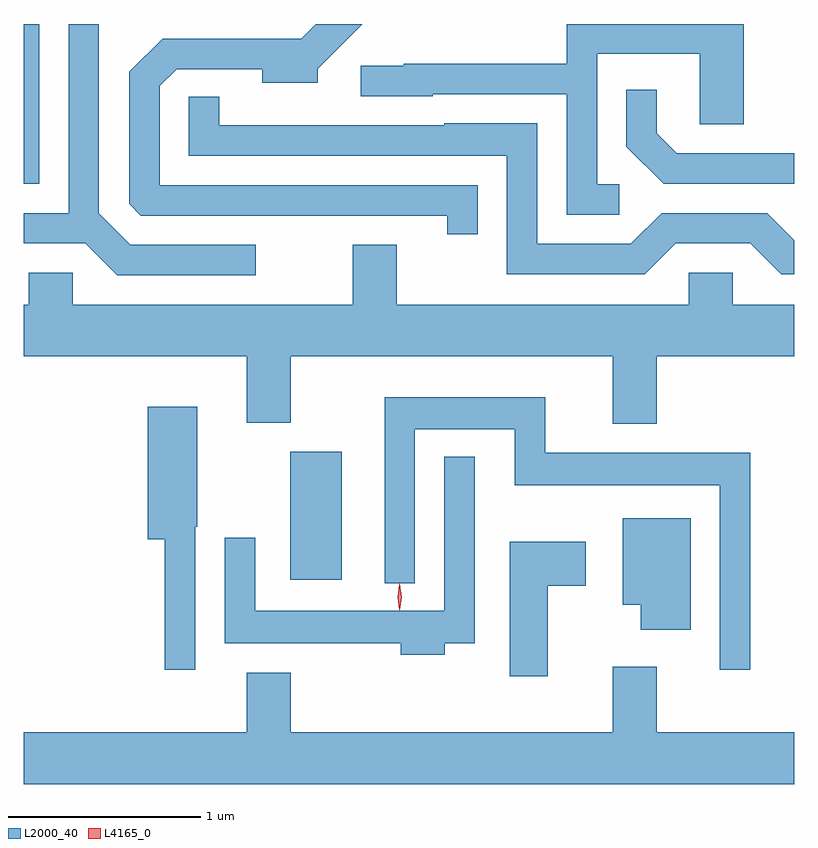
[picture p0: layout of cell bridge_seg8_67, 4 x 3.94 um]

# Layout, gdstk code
import gdstk
lib = gdstk.Library(unit=1e-6, precision=1e-09)
def R(c, l, rs):  # rectangles x0, y0, x1, y1
    for r in rs: c.add(gdstk.rectangle(r[:2], r[2:], *l))
def P(c, l, *ps):  # polygons
    for p in ps: c.add(gdstk.Polygon(p, *l))
L2000_40 = (2000, 40)
L4165_0 = (4165, 0)

bridge_seg8_67 = lib.new_cell('bridge_seg8_67')
R(bridge_seg8_67, L2000_40, [(1570.206,1810.836,1570.474,1811.499), (1568.823,1812.891,1568.904,1813.72)])
P(bridge_seg8_67, L2000_40, [(1571.913,1812.889),(1571.799,1812.889),(1571.799,1813.566),(1572.331,1813.566),(1572.331,1813.201),(1572.559,1813.201),(1572.559,1813.72),(1571.641,1813.72),(1571.641,1813.514),(1570.795,1813.514),(1570.795,1813.504),(1570.573,1813.504),(1570.573,1813.346),(1570.945,1813.346),(1570.945,1813.356),(1571.641,1813.356),(1571.641,1812.731),(1571.913,1812.731)],
  [(1571.179,1812.884),(1569.529,1812.884),(1569.529,1813.399),(1569.617,1813.486),(1570.061,1813.486),(1570.061,1813.416),(1570.349,1813.416),(1570.349,1813.489),(1570.581,1813.72),(1570.34,1813.72),(1570.264,1813.644),(1569.544,1813.644),(1569.371,1813.472),(1569.371,1812.787),(1569.432,1812.726),(1571.021,1812.726),(1571.021,1812.628),(1571.179,1812.628)],
  [(1570.028,1812.574),(1569.377,1812.574),(1569.214,1812.737),(1569.214,1813.72),(1569.056,1813.72),(1569.056,1812.739),(1568.823,1812.739),(1568.823,1812.581),(1569.144,1812.581),(1569.309,1812.416),(1570.028,1812.416)],
  [(1572.823,1813.049),(1572.212,1813.049),(1572.109,1813.152),(1572.109,1813.378),(1571.951,1813.378),(1571.951,1813.084),(1572.144,1812.891),(1572.823,1812.891)],
  [(1572.207,1812.581),(1572.594,1812.581),(1572.754,1812.421),(1572.823,1812.421),(1572.823,1812.598),(1572.682,1812.739),(1572.134,1812.739),(1571.974,1812.579),(1571.489,1812.579),(1571.489,1813.204),(1571.005,1813.204),(1571.005,1813.194),(1569.839,1813.194),(1569.839,1813.343),(1569.681,1813.343),(1569.681,1813.036),(1571.331,1813.036),(1571.331,1812.421),(1572.047,1812.421)],
  [(1572.109,1811.996),(1572.823,1811.996),(1572.823,1812.264),(1572.504,1812.264),(1572.504,1812.429),(1572.276,1812.429),(1572.276,1812.264),(1570.759,1812.264),(1570.759,1812.574),(1570.531,1812.574),(1570.531,1812.264),(1569.079,1812.264),(1569.079,1812.429),(1568.851,1812.429),(1568.851,1812.264),(1568.823,1812.264),(1568.823,1811.996),(1569.981,1811.996),(1569.981,1811.651),(1570.209,1811.651),(1570.209,1811.996),(1571.881,1811.996),(1571.881,1811.646),(1572.109,1811.646)],
  [(1572.594,1811.494),(1571.529,1811.494),(1571.529,1811.784),(1570.696,1811.784),(1570.696,1810.818),(1570.854,1810.818),(1570.854,1811.616),(1571.371,1811.616),(1571.371,1811.326),(1572.436,1811.326),(1572.436,1810.368),(1572.594,1810.368)],
  [(1569.714,1811.11),(1569.724,1811.11),(1569.724,1811.734),(1569.466,1811.734),(1569.466,1811.046),(1569.556,1811.046),(1569.556,1810.368),(1569.714,1810.368)],
  [(1571.009,1810.506),(1571.164,1810.506),(1571.164,1811.473),(1571.006,1811.473),(1571.006,1810.674),(1570.024,1810.674),(1570.024,1811.053),(1569.866,1811.053),(1569.866,1810.506),(1570.781,1810.506),(1570.781,1810.446),(1571.009,1810.446)],
  [(1572.284,1811.154),(1571.931,1811.154),(1571.931,1810.706),(1572.026,1810.706),(1572.026,1810.576),(1572.284,1810.576)],
  [(1571.544,1810.806),(1571.739,1810.806),(1571.739,1811.034),(1571.346,1811.034),(1571.346,1810.336),(1571.544,1810.336)],
  [(1569.981,1810.354),(1569.981,1810.044),(1568.823,1810.044),(1568.823,1809.776),(1572.823,1809.776),(1572.823,1810.044),(1572.109,1810.044),(1572.109,1810.384),(1571.881,1810.384),(1571.881,1810.044),(1570.209,1810.044),(1570.209,1810.354)])
P(bridge_seg8_67, L4165_0, [(1570.774,1810.679),(1570.773,1810.68),(1570.764,1810.746),(1570.773,1810.812),(1570.774,1810.813),(1570.774,1810.812),(1570.784,1810.746),(1570.774,1810.68)],
  [(1570.774,1810.677),(1570.765,1810.746),(1570.774,1810.816),(1570.775,1810.816),(1570.775,1810.816),(1570.785,1810.746),(1570.775,1810.677),(1570.775,1810.677)])

lib.write_gds('bridge_seg8_67.gds')
